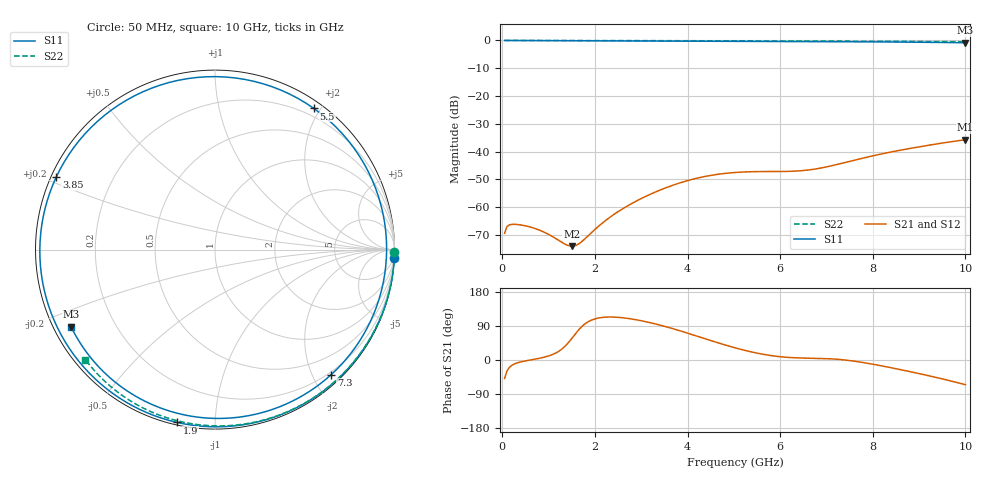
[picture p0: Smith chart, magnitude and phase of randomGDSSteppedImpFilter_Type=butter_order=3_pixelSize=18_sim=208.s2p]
! freq	dB(S11)	phase(S11)	dB(S12)	phase(S12)
!  dB(S21)	phase(S21)	dB(S22)	phase(S22)
!S-par simulation data
#  GHz  S  DB  R 50
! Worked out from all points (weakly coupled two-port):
!   200 points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, 50 MHz to 10 GHz, reference 50 ohm
!   highest |S21| = -35.72 dB at 10 GHz (marker M1); lowest = -74.0 dB at 1.5 GHz (marker M2)
!   lowest |S11| = -0.8 dB at 10 GHz (marker M3), VSWR 21.14, Z = 2.51 - j12.5 ohm
!   |S11| at or under -10 dB: nowhere
!   |S22| runs from -0.5 to 0.0 dB; largest |S21 - S12| = 0
!   S11 on the Smith chart (normalised r, x): 50 MHz: 0, -41; 1.9 GHz: 0.01, -0.81; 3.85 GHz: 0.01, +0.22; 5.5 GHz: 0.09, +1.92; 7.3 GHz: 0.16, -2.29; 10 GHz: 0.05, -0.25
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0.05  -0.00 -2.8  -69.38 -48.6  -69.38 -48.6  -0.00 -0.8
0.15  -0.00 -8.4  -66.38 -19.9  -66.38 -19.9  -0.00 -2.4
0.45  -0.02 -25.1  -66.53 -3.6  -66.53 -3.6  -0.01 -7.3
1  -0.07 -55.0  -69.78 10.7  -69.78 10.7  -0.02 -16.1
1.5  -0.10 -81.5  -74.02 56.8  -74.02 56.8  -0.03 -24.0
1.75  -0.12 -94.6  -71.90 91.9  -71.90 91.9  -0.04 -27.9
1.9  -0.12 -102.3  -69.56 103.8  -69.56 103.8  -0.04 -30.2
2.3  -0.15 -122.8  -63.90 113.4  -63.90 113.4  -0.05 -36.4
2.7  -0.17 -143.3  -59.57 109.9  -59.57 109.9  -0.05 -42.5
3.05  -0.19 -161.4  -56.48 102.4  -56.48 102.4  -0.06 -47.8
3.4  -0.21 -179.9  -53.88 92.3  -53.88 92.3  -0.07 -53.0
3.85  -0.24 155.5  -51.17 76.6  -51.17 76.6  -0.08 -59.6
4.5  -0.29 117.6  -48.55 51.4  -48.55 51.4  -0.10 -68.9
5.05  -0.33 83.5  -47.48 31.3  -47.48 31.3  -0.12 -76.6
5.5  -0.35 55.0  -47.19 18.2  -47.19 18.2  -0.13 -82.8
6.1  -0.38 17.8  -47.13 7.5  -47.13 7.5  -0.16 -90.8
6.7  -0.40 -16.5  -46.41 4.7  -46.41 4.7  -0.19 -98.6
7.3  -0.44 -47.0  -44.33 1.2  -44.33 1.2  -0.23 -106.3
7.8  -0.48 -69.7  -42.28 -6.9  -42.28 -6.9  -0.26 -112.6
8.35  -0.54 -92.1  -40.28 -19.2  -40.28 -19.2  -0.31 -119.5
9.1  -0.65 -120.1  -38.00 -38.6  -38.00 -38.6  -0.37 -128.7
10  -0.82 -151.8  -35.72 -65.1  -35.72 -65.1  -0.47 -139.7
